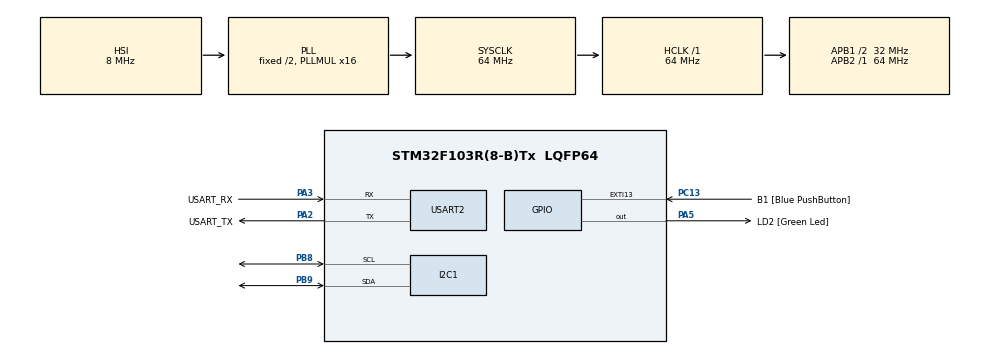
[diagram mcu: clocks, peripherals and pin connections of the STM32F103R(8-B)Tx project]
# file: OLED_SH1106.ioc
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I2C1.I2C_Mode=I2C_Standard
Mcu.Family=STM32F1
Mcu.Name=STM32F103R(8-B)Tx
Mcu.Package=LQFP64
NVIC.EXTI15_10_IRQn=true\:0\:0\:false\:false\:true\:true\:true
NVIC.PriorityGroup=NVIC_PRIORITYGROUP_4
PA13.GPIO_Label=TMS
PA13.Mode=Serial_Wire
PA13.Signal=SYS_JTMS-SWDIO
PA14.GPIO_Label=TCK
PA14.Mode=Serial_Wire
PA14.Signal=SYS_JTCK-SWCLK
PA2.GPIO_Label=USART_TX
PA2.GPIO_Mode=GPIO_MODE_AF_PP
PA2.GPIO_PuPd=GPIO_NOPULL
PA2.GPIO_Speed=GPIO_SPEED_FREQ_LOW
PA2.Mode=Asynchronous
PA2.Signal=USART2_TX
PA3.GPIO_Label=USART_RX
PA3.GPIO_Mode=GPIO_MODE_AF_PP
PA3.GPIO_PuPd=GPIO_NOPULL
PA3.GPIO_Speed=GPIO_SPEED_FREQ_LOW
PA3.Mode=Asynchronous
PA3.Signal=USART2_RX
PA5.GPIO_Label=LD2 [Green Led]
PA5.GPIO_ModeDefaultOutputPP=GPIO_MODE_OUTPUT_PP
PA5.GPIO_PuPd=GPIO_NOPULL
PA5.GPIO_Speed=GPIO_SPEED_FREQ_LOW
PA5.Signal=GPIO_Output
PB3.GPIO_Label=SWO
PB3.Signal=SYS_JTDO-TRACESWO
PB8.Mode=I2C
PB8.Signal=I2C1_SCL
PB9.Mode=I2C
PB9.Signal=I2C1_SDA
PC13-TAMPER-RTC.GPIO_Label=B1 [Blue PushButton]
PC13-TAMPER-RTC.GPIO_PuPd=GPIO_NOPULL
PC13-TAMPER-RTC.Signal=GPXTI13
PC14-OSC32_IN.Mode=LSE-External-Oscillator
PC14-OSC32_IN.Signal=RCC_OSC32_IN
PC15-OSC32_OUT.Mode=LSE-External-Oscillator
PC15-OSC32_OUT.Signal=RCC_OSC32_OUT
PD0-OSC_IN.Mode=HSE-External-Clock-Source
PD0-OSC_IN.Signal=RCC_OSC_IN
PD1-OSC_OUT.Mode=HSE-External-Clock-Source
PD1-OSC_OUT.Signal=RCC_OSC_OUT
ProjectManager.HeapSize=0x200
ProjectManager.StackSize=0x400
ProjectManager.TargetToolchain=MDK-ARM V5
RCC.AHBFreq_Value=64000000
RCC.APB1CLKDivider=RCC_HCLK_DIV2
RCC.APB1Freq_Value=32000000
RCC.APB1TimFreq_Value=64000000
RCC.APB2Freq_Value=64000000
RCC.APB2TimFreq_Value=64000000
RCC.HCLKFreq_Value=64000000
RCC.PLLMUL=RCC_PLL_MUL16
RCC.RTCClockSelection=RCC_RTCCLKSOURCE_LSE
RCC.SYSCLKFreq_VALUE=64000000
RCC.SYSCLKSource=RCC_SYSCLKSOURCE_PLLCLK
RCC.USBFreq_Value=64000000
USART2.VirtualMode=VM_ASYNC
board=NUCLEO-F103RB

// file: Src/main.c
/* USER CODE BEGIN Header */
/**
  ******************************************************************************
  * @file           : main.c
  * @brief          : Main program body
  ******************************************************************************
  * @attention
  *
  * <h2><center>&copy; Copyright (c) 2019 STMicroelectronics.
  * All rights reserved.</center></h2>
  *
  * This software component is licensed by ST under BSD 3-Clause license,
  * the "License"; You may not use this file except in compliance with the
  * License. You may obtain a copy of the License at:
  *                        opensource.org/licenses/BSD-3-Clause
  *
  ******************************************************************************
  */
/* USER CODE END Header */

#include "main.h"

/* USER CODE BEGIN Includes */
#include "../SSD1306/ssd1306.h"
#include "../SSD1306/ssd1306_tests.h"
/* USER CODE END Includes */

I2C_HandleTypeDef hi2c1;

UART_HandleTypeDef huart2;

void SystemClock_Config(void);
static void MX_GPIO_Init(void);
static void MX_I2C1_Init(void);
static void MX_USART2_UART_Init(void);

int main(void)
{

  /* MCU Configuration--------------------------------------------------------*/

  /* Reset of all peripherals, Initializes the Flash interface and the Systick. */
  HAL_Init();

  /* Configure the system clock */
  SystemClock_Config();

  /* Initialize all configured peripherals */
  MX_GPIO_Init();
  MX_I2C1_Init();
  MX_USART2_UART_Init();
  /* USER CODE BEGIN 2 */
  HAL_Delay(1000);
  ssd1306_Init();

  /* USER CODE END 2 */

  /* Infinite loop */
  while (1)
  {

    /* USER CODE BEGIN 3 */
	  //ssd1306_TestAll();

	HAL_GPIO_TogglePin(LD2_GPIO_Port,LD2_Pin);
    HAL_Delay(500);
    HAL_GPIO_TogglePin(LD2_GPIO_Port,LD2_Pin);
    HAL_Delay(500);
    ssd1306_TestFPS();
	HAL_Delay(3000);

	HAL_GPIO_TogglePin(LD2_GPIO_Port,LD2_Pin);
    HAL_Delay(500);
    HAL_GPIO_TogglePin(LD2_GPIO_Port,LD2_Pin);
    HAL_Delay(500);

	ssd1306_TestBorder();
    HAL_GPIO_TogglePin(LD2_GPIO_Port,LD2_Pin);
    HAL_Delay(500);
    HAL_GPIO_TogglePin(LD2_GPIO_Port,LD2_Pin);
    HAL_Delay(500);

	ssd1306_TestFonts();
	HAL_Delay(3000);
	HAL_GPIO_TogglePin(LD2_GPIO_Port,LD2_Pin);
    HAL_Delay(500);
    HAL_GPIO_TogglePin(LD2_GPIO_Port,LD2_Pin);
    HAL_Delay(500);

  }
  /* USER CODE END 3 */
}

void SystemClock_Config(void)
{
  RCC_OscInitTypeDef RCC_OscInitStruct = {0};
  RCC_ClkInitTypeDef RCC_ClkInitStruct = {0};

  /** Initializes the CPU, AHB and APB busses clocks
  */
  RCC_OscInitStruct.OscillatorType = RCC_OSCILLATORTYPE_HSI;
  RCC_OscInitStruct.HSIState = RCC_HSI_ON;
  RCC_OscInitStruct.HSICalibrationValue = RCC_HSICALIBRATION_DEFAULT;
  RCC_OscInitStruct.PLL.PLLState = RCC_PLL_ON;
  RCC_OscInitStruct.PLL.PLLSource = RCC_PLLSOURCE_HSI_DIV2;
  RCC_OscInitStruct.PLL.PLLMUL = RCC_PLL_MUL16;
  if (HAL_RCC_OscConfig(&RCC_OscInitStruct) != HAL_OK)
  {
    Error_Handler();
  }
  /** Initializes the CPU, AHB and APB busses clocks
  */
  RCC_ClkInitStruct.ClockType = RCC_CLOCKTYPE_HCLK|RCC_CLOCKTYPE_SYSCLK
                              |RCC_CLOCKTYPE_PCLK1|RCC_CLOCKTYPE_PCLK2;
  RCC_ClkInitStruct.SYSCLKSource = RCC_SYSCLKSOURCE_PLLCLK;
  RCC_ClkInitStruct.AHBCLKDivider = RCC_SYSCLK_DIV1;
  RCC_ClkInitStruct.APB1CLKDivider = RCC_HCLK_DIV2;
  RCC_ClkInitStruct.APB2CLKDivider = RCC_HCLK_DIV1;

  if (HAL_RCC_ClockConfig(&RCC_ClkInitStruct, FLASH_LATENCY_2) != HAL_OK)
  {
    Error_Handler();
  }
}

static void MX_I2C1_Init(void)
{

  hi2c1.Instance = I2C1;
  hi2c1.Init.ClockSpeed = 400000;
  hi2c1.Init.DutyCycle = I2C_DUTYCYCLE_2;
  hi2c1.Init.OwnAddress1 = 0;
  hi2c1.Init.AddressingMode = I2C_ADDRESSINGMODE_7BIT;
  hi2c1.Init.DualAddressMode = I2C_DUALADDRESS_DISABLE;
  hi2c1.Init.OwnAddress2 = 0;
  hi2c1.Init.GeneralCallMode = I2C_GENERALCALL_DISABLE;
  hi2c1.Init.NoStretchMode = I2C_NOSTRETCH_DISABLE;
  if (HAL_I2C_Init(&hi2c1) != HAL_OK)
  {
    Error_Handler();
  }

}

static void MX_USART2_UART_Init(void)
{

  huart2.Instance = USART2;
  huart2.Init.BaudRate = 115200;
  huart2.Init.WordLength = UART_WORDLENGTH_8B;
  huart2.Init.StopBits = UART_STOPBITS_1;
  huart2.Init.Parity = UART_PARITY_NONE;
  huart2.Init.Mode = UART_MODE_TX_RX;
  huart2.Init.HwFlowCtl = UART_HWCONTROL_NONE;
  huart2.Init.OverSampling = UART_OVERSAMPLING_16;
  if (HAL_UART_Init(&huart2) != HAL_OK)
  {
    Error_Handler();
  }

}

static void MX_GPIO_Init(void)
{
  GPIO_InitTypeDef GPIO_InitStruct = {0};

  /* GPIO Ports Clock Enable */
  __HAL_RCC_GPIOC_CLK_ENABLE();
  __HAL_RCC_GPIOD_CLK_ENABLE();
  __HAL_RCC_GPIOA_CLK_ENABLE();
  __HAL_RCC_GPIOB_CLK_ENABLE();

  /*Configure GPIO pin Output Level */
  HAL_GPIO_WritePin(LD2_GPIO_Port, LD2_Pin, GPIO_PIN_RESET);

  /*Configure GPIO pin : B1_Pin */
  GPIO_InitStruct.Pin = B1_Pin;
  GPIO_InitStruct.Mode = GPIO_MODE_IT_RISING;
  GPIO_InitStruct.Pull = GPIO_NOPULL;
  HAL_GPIO_Init(B1_GPIO_Port, &GPIO_InitStruct);

  /*Configure GPIO pin : LD2_Pin */
  GPIO_InitStruct.Pin = LD2_Pin;
  GPIO_InitStruct.Mode = GPIO_MODE_OUTPUT_PP;
  GPIO_InitStruct.Pull = GPIO_NOPULL;
  GPIO_InitStruct.Speed = GPIO_SPEED_FREQ_LOW;
  HAL_GPIO_Init(LD2_GPIO_Port, &GPIO_InitStruct);

  /* EXTI interrupt init*/
  HAL_NVIC_SetPriority(EXTI15_10_IRQn, 0, 0);
  HAL_NVIC_EnableIRQ(EXTI15_10_IRQn);

}

void Error_Handler(void)
{
}

/************************ (C) COPYRIGHT STMicroelectronics *****END OF FILE****/
